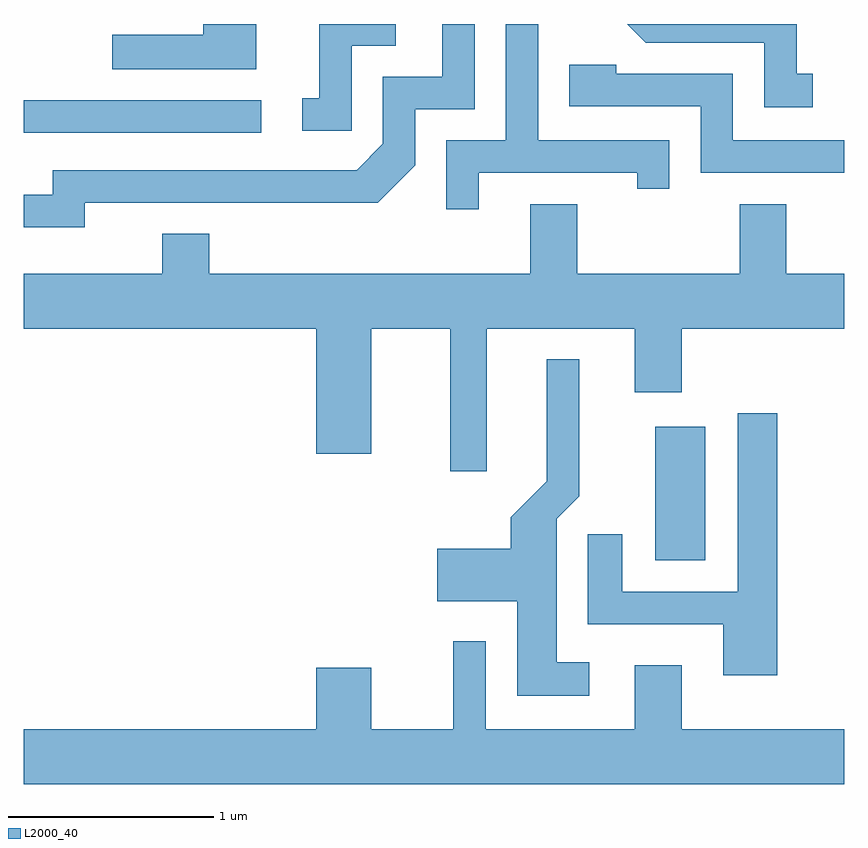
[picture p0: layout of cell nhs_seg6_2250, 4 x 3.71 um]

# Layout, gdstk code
import gdstk
lib = gdstk.Library(unit=1e-6, precision=1e-09)
def R(c, l, rs):  # rectangles x0, y0, x1, y1
    for r in rs: c.add(gdstk.rectangle(r[:2], r[2:], *l))
def P(c, l, *ps):  # polygons
    for p in ps: c.add(gdstk.Polygon(p, *l))
L2000_40 = (2000, 40)

nhs_seg6_2250 = lib.new_cell('nhs_seg6_2250')
R(nhs_seg6_2250, L2000_40, [(256.691,1575.546,256.934,1576.199), (253.611,1577.631,254.768,1577.789)])
P(nhs_seg6_2250, L2000_40, [(255.209,1578.056),(255.424,1578.056),(255.424,1578.162),(255.051,1578.162),(255.051,1577.799),(254.968,1577.799),(254.968,1577.641),(255.209,1577.641)],
  [(253.909,1577.291),(255.337,1577.291),(255.519,1577.474),(255.519,1577.746),(255.809,1577.746),(255.809,1578.162),(255.651,1578.162),(255.651,1577.904),(255.361,1577.904),(255.361,1577.577),(255.234,1577.449),(253.751,1577.449),(253.751,1577.329),(253.611,1577.329),(253.611,1577.171),(253.909,1577.171)],
  [(257.457,1577.919),(257.379,1577.919),(257.379,1578.162),(256.553,1578.162),(256.644,1578.071),(257.221,1578.071),(257.221,1577.756),(257.457,1577.756)],
  [(255.829,1577.436),(256.601,1577.436),(256.601,1577.358),(256.759,1577.358),(256.759,1577.594),(256.119,1577.594),(256.119,1578.162),(255.961,1578.162),(255.961,1577.594),(255.671,1577.594),(255.671,1577.258),(255.829,1577.258)],
  [(254.744,1578.162),(254.486,1578.162),(254.486,1578.109),(254.043,1578.109),(254.043,1577.941),(254.744,1577.941)],
  [(257.611,1577.594),(257.069,1577.594),(257.069,1577.919),(256.499,1577.919),(256.499,1577.964),(256.271,1577.964),(256.271,1577.761),(256.911,1577.761),(256.911,1577.436),(257.611,1577.436)],
  [(255.869,1576.676),(256.591,1576.676),(256.591,1576.366),(256.819,1576.366),(256.819,1576.676),(257.611,1576.676),(257.611,1576.944),(257.329,1576.944),(257.329,1577.284),(257.101,1577.284),(257.101,1576.944),(256.309,1576.944),(256.309,1577.284),(256.081,1577.284),(256.081,1576.944),(254.514,1576.944),(254.514,1577.139),(254.286,1577.139),(254.286,1576.944),(253.611,1576.944),(253.611,1576.676),(255.036,1576.676),(255.036,1576.066),(255.304,1576.066),(255.304,1576.676),(255.691,1576.676),(255.691,1575.981),(255.869,1575.981)],
  [(256.368,1575.049),(256.209,1575.049),(256.209,1575.749),(256.319,1575.859),(256.319,1576.528),(256.161,1576.528),(256.161,1575.932),(255.986,1575.757),(255.986,1575.604),(255.626,1575.604),(255.626,1575.346),(256.016,1575.346),(256.016,1574.886),(256.368,1574.886)],
  [(257.284,1576.264),(257.091,1576.264),(257.091,1575.394),(256.529,1575.394),(256.529,1575.673),(256.361,1575.673),(256.361,1575.236),(257.021,1575.236),(257.021,1574.986),(257.284,1574.986)],
  [(257.611,1574.724),(256.819,1574.724),(256.819,1575.034),(256.591,1575.034),(256.591,1574.724),(255.864,1574.724),(255.864,1575.153),(255.706,1575.153),(255.706,1574.724),(255.304,1574.724),(255.304,1575.024),(255.036,1575.024),(255.036,1574.724),(253.611,1574.724),(253.611,1574.456),(257.611,1574.456)])

lib.write_gds('nhs_seg6_2250.gds')
